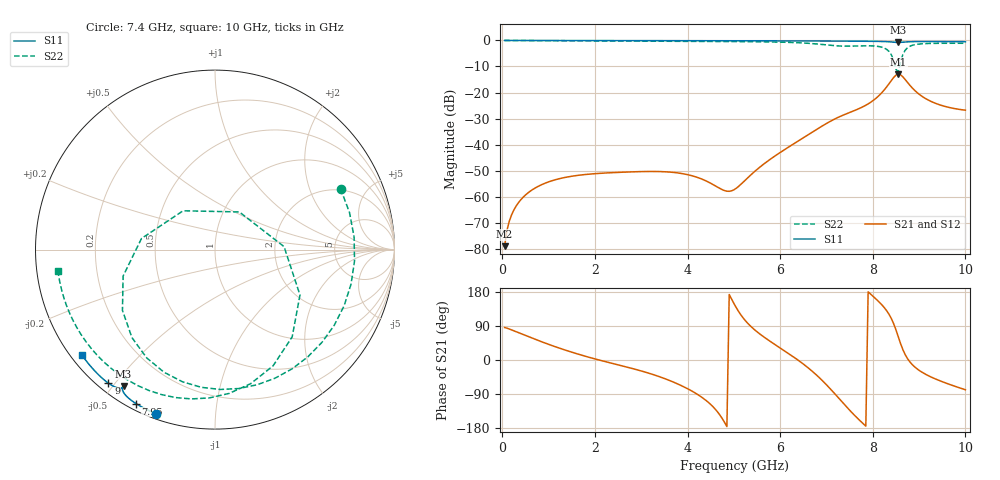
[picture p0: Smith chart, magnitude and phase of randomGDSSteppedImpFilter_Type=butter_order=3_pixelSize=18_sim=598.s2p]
! freq	dB(S11)	phase(S11)	dB(S12)	phase(S12)
!  dB(S21)	phase(S21)	dB(S22)	phase(S22)
!S-par simulation data
#  GHz  S  DB  R 50
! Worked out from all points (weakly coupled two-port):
!   200 points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, 50 MHz to 10 GHz, reference 50 ohm
!   highest |S21| = -12.95 dB at 8.55 GHz (marker M1); lowest = -79.0 dB at 50 MHz (marker M2)
!   lowest |S11| = -0.8 dB at 8.55 GHz (marker M3), VSWR 22.51, Z = 2.85 - j26.6 ohm
!   |S11| at or under -10 dB: nowhere
!   |S22| runs from -12.1 to 0.0 dB; largest |S21 - S12| = 0
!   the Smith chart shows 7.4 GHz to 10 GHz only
!   S11 on the Smith chart (normalised r, x): 7.4 GHz: 0.02, -0.70; 7.95 GHz: 0.03, -0.61; 9 GHz: 0.03, -0.48; 10 GHz: 0.03, -0.35
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0.05  -0.00 -0.8  -79.01 85.7  -79.01 85.7  -0.00 -4.3
0.2  -0.00 -3.3  -67.01 79.5  -67.01 79.5  -0.02 -17.2
0.5  -0.01 -8.2  -59.36 64.7  -59.36 64.7  -0.06 -42.6
1.1  -0.02 -18.0  -53.73 36.9  -53.73 36.9  -0.11 -91.2
1.75  -0.04 -28.4  -51.56 11.4  -51.56 11.4  -0.16 -140.6
2.55  -0.05 -41.0  -50.63 -14.3  -50.63 -14.3  -0.21 159.9
3.4  -0.07 -54.0  -50.35 -44.3  -50.35 -44.3  -0.29 92.0
4.25  -0.09 -66.6  -52.83 -93.5  -52.83 -93.5  -0.36 18.4
5.05  -0.12 -78.0  -56.79 138.6  -56.79 138.6  -0.43 -48.6
5.9  -0.15 -89.8  -44.22 39.9  -44.22 39.9  -0.60 -116.9
6.7  -0.19 -100.6  -35.15 -30.5  -35.15 -30.5  -1.21 158.7
7.1  -0.22 -105.9  -30.89 -78.4  -30.89 -78.4  -1.90 89.6
7.4  -0.25 -109.8  -28.38 -119.2  -28.38 -119.2  -2.19 25.8
7.65  -0.28 -113.1  -26.59 -151.3  -26.59 -151.3  -2.11 -23.5
7.95  -0.32 -117.2  -23.79 174.4  -23.79 174.4  -2.06 -72.6
8.35  -0.51 -122.8  -16.64 120.8  -16.64 120.8  -4.19 -146.7
8.45  -0.66 -123.9  -14.23 96.0  -14.23 96.0  -7.66 171.4
8.55  -0.77 -123.9  -12.95 61.5  -12.95 61.5  -12.05 57.2
8.65  -0.67 -123.9  -13.98 27.3  -13.98 27.3  -5.40 -28.1
8.8  -0.49 -125.7  -17.19 -4.8  -17.19 -4.8  -2.24 -75.1
9  -0.43 -128.6  -20.63 -27.2  -20.63 -27.2  -1.38 -104.9
10  -0.48 -141.7  -26.77 -78.5  -26.77 -78.5  -1.08 -172.3
